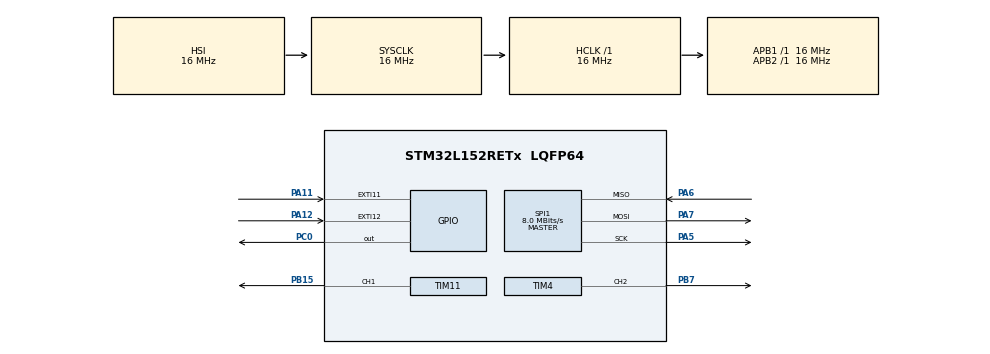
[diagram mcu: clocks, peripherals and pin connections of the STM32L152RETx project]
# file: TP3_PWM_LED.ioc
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Mcu.Family=STM32L1
Mcu.Name=STM32L152RETx
Mcu.Package=LQFP64
NVIC.EXTI15_10_IRQn=true\:0\:0\:false\:false\:true\:true\:true\:true
NVIC.PriorityGroup=NVIC_PRIORITYGROUP_4
NVIC.TIM11_IRQn=true\:0\:0\:false\:false\:true\:true\:true\:true
NVIC.TIM2_IRQn=true\:0\:0\:false\:false\:true\:true\:true\:true
NVIC.TIM4_IRQn=true\:0\:0\:false\:false\:true\:true\:true\:true
PA11.Signal=GPXTI11
PA12.Signal=GPXTI12
PA5.Mode=Full_Duplex_Master
PA5.Signal=SPI1_SCK
PA6.Mode=Full_Duplex_Master
PA6.Signal=SPI1_MISO
PA7.Mode=Full_Duplex_Master
PA7.Signal=SPI1_MOSI
PB15.Signal=S_TIM11_CH1
PB7.Signal=S_TIM4_CH2
PC0.Signal=GPIO_Output
ProjectManager.HeapSize=0x200
ProjectManager.StackSize=0x400
ProjectManager.TargetToolchain=STM32CubeIDE
RCC.AHBFreq_Value=16000000
RCC.APB1Freq_Value=16000000
RCC.APB1TimFreq_Value=16000000
RCC.APB2Freq_Value=16000000
RCC.APB2TimFreq_Value=16000000
RCC.HCLKFreq_Value=16000000
RCC.HSE_VALUE=24000000
RCC.HSI_VALUE=16000000
RCC.LSE_VALUE=32768
RCC.MSI_VALUE=2097000
RCC.SYSCLKFreq_VALUE=16000000
RCC.SYSCLKSource=RCC_SYSCLKSOURCE_HSI
RCC.VCOOutputFreq_Value=48000000
SH.S_TIM11_CH1.0=TIM11_CH1,PWM Generation1 CH1
SH.S_TIM4_CH2.0=TIM4_CH2,PWM Generation2 CH2
SPI1.CalculateBaudRate=8.0 MBits/s
SPI1.Direction=SPI_DIRECTION_2LINES
SPI1.Mode=SPI_MODE_MASTER
SPI1.VirtualType=VM_MASTER
TIM11.AutoReloadPreload=TIM_AUTORELOAD_PRELOAD_ENABLE
TIM11.Channel=TIM_CHANNEL_1
TIM11.Period=16000-1
TIM11.Prescaler=20-1
TIM11.Pulse=800-1
TIM2.AutoReloadPreload=TIM_AUTORELOAD_PRELOAD_ENABLE
TIM2.Period=16000-1
TIM2.Prescaler=1000-1
TIM4.AutoReloadPreload=TIM_AUTORELOAD_PRELOAD_ENABLE
TIM4.Channel-PWM\ Generation2\ CH2=TIM_CHANNEL_2
TIM4.Period=16000-1
TIM4.Prescaler=20-1
TIM4.Pulse-PWM\ Generation2\ CH2=800-1
VP_TIM11_VS_ClockSourceINT.Mode=Internal
VP_TIM2_VS_ClockSourceINT.Mode=Internal
VP_TIM4_VS_ClockSourceINT.Mode=Internal
board=custom

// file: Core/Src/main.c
/* USER CODE BEGIN Header */
/**
  ******************************************************************************
  * @file           : main.c
  * @brief          : Main program body
  ******************************************************************************
  * @attention
  *
  * Copyright (c) 2025 STMicroelectronics.
  * All rights reserved.
  *
  * This software is licensed under terms that can be found in the LICENSE file
  * in the root directory of this software component.
  * If no LICENSE file comes with this software, it is provided AS-IS.
  *
  ******************************************************************************
  */
/* USER CODE END Header */
#include "main.h"

/* USER CODE BEGIN Includes */
#include "max7219.h"

/* USER CODE END Includes */

SPI_HandleTypeDef hspi1;

TIM_HandleTypeDef htim2;
TIM_HandleTypeDef htim4;
TIM_HandleTypeDef htim11;

void SystemClock_Config(void);
static void MX_GPIO_Init(void);
static void MX_SPI1_Init(void);
static void MX_TIM4_Init(void);
static void MX_TIM11_Init(void);
static void MX_TIM2_Init(void);
/* USER CODE BEGIN PFP */
void affiche(uint8_t nombre_entier, uint8_t nombre_decimal);

/* USER CODE END PFP */

/* USER CODE BEGIN 0 */
volatile uint8_t sens = 1;
volatile uint8_t angle = 0;

void affiche(uint8_t nombre_entier, uint8_t nombre_decimal) {
    uint8_t compt_uni_ent;
    uint8_t compt_diz_ent;
    uint8_t compt_uni_deci;
    uint8_t compt_diz_deci;

    compt_uni_ent = nombre_entier % 10;
    compt_diz_ent = nombre_entier / 10;

    compt_uni_deci = nombre_decimal % 10;
    compt_diz_deci = nombre_decimal / 10;

    MAX7219_DisplayChar(1, compt_diz_ent);
    MAX7219_DisplayChar(2, compt_uni_ent);
    MAX7219_DisplayChar(3, compt_diz_deci);
    MAX7219_DisplayChar(4, compt_uni_deci);
}

/* USER CODE END 0 */

int main(void)
{

  /* MCU Configuration--------------------------------------------------------*/

  /* Reset of all peripherals, Initializes the Flash interface and the Systick. */
  HAL_Init();

  /* Configure the system clock */
  SystemClock_Config();

  /* Initialize all configured peripherals */
  MX_GPIO_Init();
  MX_SPI1_Init();
  MX_TIM4_Init();
  MX_TIM11_Init();
  MX_TIM2_Init();
  /* USER CODE BEGIN 2 */
  MAX7219_Init();
  HAL_TIM_Base_Start_IT(&htim2);
  HAL_TIM_PWM_Start(&htim4, TIM_CHANNEL_2);
  HAL_TIM_PWM_Start(&htim11, TIM_CHANNEL_1);

  /* USER CODE END 2 */

  /* Infinite loop */
  /* USER CODE BEGIN WHILE */
  MAX7219_Clear();
  while (1)
  {
    /* USER CODE END WHILE */

 }
}

void SystemClock_Config(void)
{
  RCC_OscInitTypeDef RCC_OscInitStruct = {0};
  RCC_ClkInitTypeDef RCC_ClkInitStruct = {0};

  /** Configure the main internal regulator output voltage
  */
  __HAL_PWR_VOLTAGESCALING_CONFIG(PWR_REGULATOR_VOLTAGE_SCALE1);

  /** Initializes the RCC Oscillators according to the specified parameters
  * in the RCC_OscInitTypeDef structure.
  */
  RCC_OscInitStruct.OscillatorType = RCC_OSCILLATORTYPE_HSI;
  RCC_OscInitStruct.HSIState = RCC_HSI_ON;
  RCC_OscInitStruct.HSICalibrationValue = RCC_HSICALIBRATION_DEFAULT;
  RCC_OscInitStruct.PLL.PLLState = RCC_PLL_NONE;
  if (HAL_RCC_OscConfig(&RCC_OscInitStruct) != HAL_OK)
  {
    Error_Handler();
  }

  /** Initializes the CPU, AHB and APB buses clocks
  */
  RCC_ClkInitStruct.ClockType = RCC_CLOCKTYPE_HCLK|RCC_CLOCKTYPE_SYSCLK
                              |RCC_CLOCKTYPE_PCLK1|RCC_CLOCKTYPE_PCLK2;
  RCC_ClkInitStruct.SYSCLKSource = RCC_SYSCLKSOURCE_HSI;
  RCC_ClkInitStruct.AHBCLKDivider = RCC_SYSCLK_DIV1;
  RCC_ClkInitStruct.APB1CLKDivider = RCC_HCLK_DIV1;
  RCC_ClkInitStruct.APB2CLKDivider = RCC_HCLK_DIV1;

  if (HAL_RCC_ClockConfig(&RCC_ClkInitStruct, FLASH_LATENCY_0) != HAL_OK)
  {
    Error_Handler();
  }
}

static void MX_SPI1_Init(void)
{

  /* SPI1 parameter configuration*/
  hspi1.Instance = SPI1;
  hspi1.Init.Mode = SPI_MODE_MASTER;
  hspi1.Init.Direction = SPI_DIRECTION_2LINES;
  hspi1.Init.DataSize = SPI_DATASIZE_8BIT;
  hspi1.Init.CLKPolarity = SPI_POLARITY_LOW;
  hspi1.Init.CLKPhase = SPI_PHASE_1EDGE;
  hspi1.Init.NSS = SPI_NSS_SOFT;
  hspi1.Init.BaudRatePrescaler = SPI_BAUDRATEPRESCALER_2;
  hspi1.Init.FirstBit = SPI_FIRSTBIT_MSB;
  hspi1.Init.TIMode = SPI_TIMODE_DISABLE;
  hspi1.Init.CRCCalculation = SPI_CRCCALCULATION_DISABLE;
  hspi1.Init.CRCPolynomial = 10;
  if (HAL_SPI_Init(&hspi1) != HAL_OK)
  {
    Error_Handler();
  }

}

static void MX_TIM2_Init(void)
{

  TIM_ClockConfigTypeDef sClockSourceConfig = {0};
  TIM_MasterConfigTypeDef sMasterConfig = {0};

  htim2.Instance = TIM2;
  htim2.Init.Prescaler = 1000-1;
  htim2.Init.CounterMode = TIM_COUNTERMODE_UP;
  htim2.Init.Period = 16000-1;
  htim2.Init.ClockDivision = TIM_CLOCKDIVISION_DIV1;
  htim2.Init.AutoReloadPreload = TIM_AUTORELOAD_PRELOAD_ENABLE;
  if (HAL_TIM_Base_Init(&htim2) != HAL_OK)
  {
    Error_Handler();
  }
  sClockSourceConfig.ClockSource = TIM_CLOCKSOURCE_INTERNAL;
  if (HAL_TIM_ConfigClockSource(&htim2, &sClockSourceConfig) != HAL_OK)
  {
    Error_Handler();
  }
  sMasterConfig.MasterOutputTrigger = TIM_TRGO_RESET;
  sMasterConfig.MasterSlaveMode = TIM_MASTERSLAVEMODE_DISABLE;
  if (HAL_TIMEx_MasterConfigSynchronization(&htim2, &sMasterConfig) != HAL_OK)
  {
    Error_Handler();
  }

}

static void MX_TIM4_Init(void)
{

  TIM_ClockConfigTypeDef sClockSourceConfig = {0};
  TIM_MasterConfigTypeDef sMasterConfig = {0};
  TIM_OC_InitTypeDef sConfigOC = {0};

  htim4.Instance = TIM4;
  htim4.Init.Prescaler = 20-1;
  htim4.Init.CounterMode = TIM_COUNTERMODE_UP;
  htim4.Init.Period = 16000-1;
  htim4.Init.ClockDivision = TIM_CLOCKDIVISION_DIV1;
  htim4.Init.AutoReloadPreload = TIM_AUTORELOAD_PRELOAD_ENABLE;
  if (HAL_TIM_Base_Init(&htim4) != HAL_OK)
  {
    Error_Handler();
  }
  sClockSourceConfig.ClockSource = TIM_CLOCKSOURCE_INTERNAL;
  if (HAL_TIM_ConfigClockSource(&htim4, &sClockSourceConfig) != HAL_OK)
  {
    Error_Handler();
  }
  if (HAL_TIM_PWM_Init(&htim4) != HAL_OK)
  {
    Error_Handler();
  }
  sMasterConfig.MasterOutputTrigger = TIM_TRGO_RESET;
  sMasterConfig.MasterSlaveMode = TIM_MASTERSLAVEMODE_DISABLE;
  if (HAL_TIMEx_MasterConfigSynchronization(&htim4, &sMasterConfig) != HAL_OK)
  {
    Error_Handler();
  }
  sConfigOC.OCMode = TIM_OCMODE_PWM1;
  sConfigOC.Pulse = 800-1;
  sConfigOC.OCPolarity = TIM_OCPOLARITY_HIGH;
  sConfigOC.OCFastMode = TIM_OCFAST_DISABLE;
  if (HAL_TIM_PWM_ConfigChannel(&htim4, &sConfigOC, TIM_CHANNEL_2) != HAL_OK)
  {
    Error_Handler();
  }
  HAL_TIM_MspPostInit(&htim4);

}

static void MX_TIM11_Init(void)
{

  TIM_ClockConfigTypeDef sClockSourceConfig = {0};
  TIM_OC_InitTypeDef sConfigOC = {0};

  htim11.Instance = TIM11;
  htim11.Init.Prescaler = 20-1;
  htim11.Init.CounterMode = TIM_COUNTERMODE_UP;
  htim11.Init.Period = 16000-1;
  htim11.Init.ClockDivision = TIM_CLOCKDIVISION_DIV1;
  htim11.Init.AutoReloadPreload = TIM_AUTORELOAD_PRELOAD_ENABLE;
  if (HAL_TIM_Base_Init(&htim11) != HAL_OK)
  {
    Error_Handler();
  }
  sClockSourceConfig.ClockSource = TIM_CLOCKSOURCE_INTERNAL;
  if (HAL_TIM_ConfigClockSource(&htim11, &sClockSourceConfig) != HAL_OK)
  {
    Error_Handler();
  }
  if (HAL_TIM_PWM_Init(&htim11) != HAL_OK)
  {
    Error_Handler();
  }
  sConfigOC.OCMode = TIM_OCMODE_PWM1;
  sConfigOC.Pulse = 800-1;
  sConfigOC.OCPolarity = TIM_OCPOLARITY_HIGH;
  sConfigOC.OCFastMode = TIM_OCFAST_DISABLE;
  if (HAL_TIM_PWM_ConfigChannel(&htim11, &sConfigOC, TIM_CHANNEL_1) != HAL_OK)
  {
    Error_Handler();
  }
  HAL_TIM_MspPostInit(&htim11);

}

static void MX_GPIO_Init(void)
{
  GPIO_InitTypeDef GPIO_InitStruct = {0};

  /* GPIO Ports Clock Enable */
  __HAL_RCC_GPIOC_CLK_ENABLE();
  __HAL_RCC_GPIOA_CLK_ENABLE();
  __HAL_RCC_GPIOB_CLK_ENABLE();

  /*Configure GPIO pin Output Level */
  HAL_GPIO_WritePin(GPIOC, GPIO_PIN_0, GPIO_PIN_RESET);

  /*Configure GPIO pin : PC0 */
  GPIO_InitStruct.Pin = GPIO_PIN_0;
  GPIO_InitStruct.Mode = GPIO_MODE_OUTPUT_PP;
  GPIO_InitStruct.Pull = GPIO_NOPULL;
  GPIO_InitStruct.Speed = GPIO_SPEED_FREQ_LOW;
  HAL_GPIO_Init(GPIOC, &GPIO_InitStruct);

  /*Configure GPIO pins : PA11 PA12 */
  GPIO_InitStruct.Pin = GPIO_PIN_11|GPIO_PIN_12;
  GPIO_InitStruct.Mode = GPIO_MODE_IT_RISING;
  GPIO_InitStruct.Pull = GPIO_NOPULL;
  HAL_GPIO_Init(GPIOA, &GPIO_InitStruct);

  /* EXTI interrupt init*/
  HAL_NVIC_SetPriority(EXTI15_10_IRQn, 0, 0);
  HAL_NVIC_EnableIRQ(EXTI15_10_IRQn);

}

/* USER CODE BEGIN 4 */
void HAL_TIM_PeriodElapsedCallback(TIM_HandleTypeDef *htim) {
	if (htim->Instance == TIM2) {
	        if (sens) {
	        	angle ++;
	        	if (angle >= 20) {
	        		sens = 0;
	        	}
	        } else {
	        	angle --;
	        	if (angle <= 0) {
	        		sens = 1;
	        	}
	        }

	        TIM11 -> CCR1 = angle * 800;
	        TIM4 -> CCR2 = angle * 800;
	    }
}

/* USER CODE END 4 */

void Error_Handler(void)
{
  __disable_irq();
  while (1)
  {
  }
}
